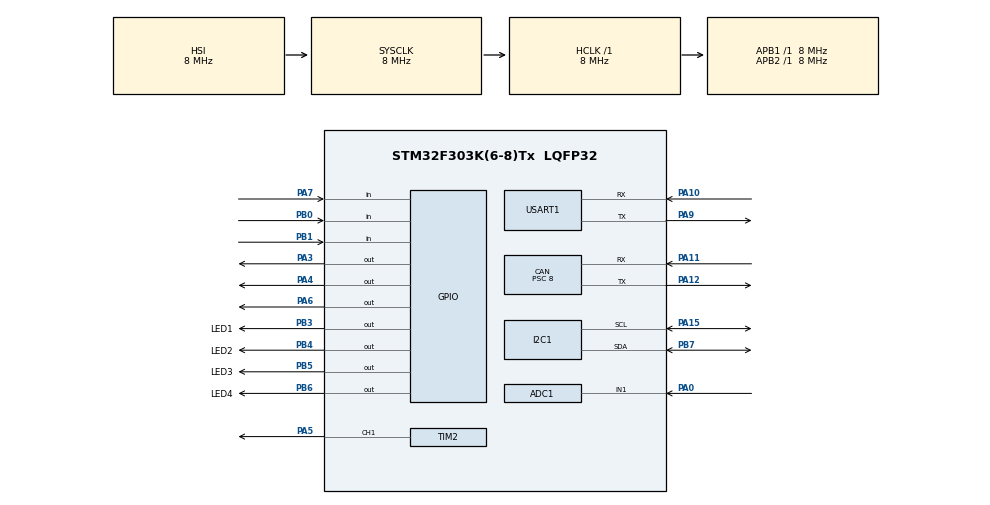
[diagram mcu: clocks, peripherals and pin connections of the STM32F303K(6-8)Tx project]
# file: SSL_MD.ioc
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ADC1.Channel-24\#ChannelRegularConversion=ADC_CHANNEL_1
ADC1.NbrOfConversionFlag=1
ADC1.Offset-24\#ChannelRegularConversion=0
ADC1.OffsetNumber-24\#ChannelRegularConversion=ADC_OFFSET_NONE
ADC1.Rank-24\#ChannelRegularConversion=1
ADC1.SamplingTime-24\#ChannelRegularConversion=ADC_SAMPLETIME_1CYCLE_5
ADC1.SubFamily=STM32F303x8
ADC1.master=1
CAN.BS1=CAN_BS1_2TQ
CAN.CalculateTimeQuantum=1000.0
CAN.Prescaler=8
Mcu.Family=STM32F3
Mcu.Name=STM32F303K(6-8)Tx
Mcu.Package=LQFP32
NVIC.PriorityGroup=NVIC_PRIORITYGROUP_4
PA0.Mode=IN1-Single-Ended
PA0.Signal=ADC1_IN1
PA10.Mode=Asynchronous
PA10.Signal=USART1_RX
PA11.Mode=Master
PA11.Signal=CAN_RX
PA12.Mode=Master
PA12.Signal=CAN_TX
PA13.Mode=Serial_Wire
PA13.Signal=SYS_JTMS-SWDIO
PA14.Mode=Serial_Wire
PA14.Signal=SYS_JTCK-SWCLK
PA15.Mode=I2C
PA15.Signal=I2C1_SCL
PA3.Signal=GPIO_Output
PA4.Signal=GPIO_Output
PA5.Signal=S_TIM2_CH1_ETR
PA6.Signal=GPIO_Output
PA7.Signal=GPIO_Input
PA9.Mode=Asynchronous
PA9.Signal=USART1_TX
PB0.Signal=GPIO_Input
PB1.Signal=GPIO_Input
PB3.GPIO_Label=LED1
PB3.Signal=GPIO_Output
PB4.GPIO_Label=LED2
PB4.Signal=GPIO_Output
PB5.GPIO_Label=LED3
PB5.Signal=GPIO_Output
PB6.GPIO_Label=LED4
PB6.Signal=GPIO_Output
PB7.Mode=I2C
PB7.Signal=I2C1_SDA
ProjectManager.HeapSize=0x200
ProjectManager.StackSize=0x400
ProjectManager.TargetToolchain=TrueSTUDIO
RCC.AHBFreq_Value=8000000
RCC.APB1Freq_Value=8000000
RCC.APB2Freq_Value=8000000
RCC.CortexFreq_Value=8000000
RCC.HSE_VALUE=8000000
RCC.HSI_VALUE=8000000
RCC.PLLMUL=RCC_PLL_MUL9
RCC.SYSCLKFreq_VALUE=8000000
SH.S_TIM2_CH1_ETR.0=TIM2_CH1,PWM Generation1 CH1
TIM2.Channel-PWM\ Generation1\ CH1=TIM_CHANNEL_1
TIM2.Period=99
TIM2.Prescaler=7
USART1.VirtualMode-Asynchronous=VM_ASYNC
VP_TIM2_VS_ClockSourceINT.Mode=Internal
board=custom

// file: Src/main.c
/**
  ******************************************************************************
  * @file           : main.c
  * @brief          : Main program body
  ******************************************************************************
  ** This notice applies to any and all portions of this file
  * that are not between comment pairs USER CODE BEGIN and
  * USER CODE END. Other portions of this file, whether
  * inserted by the user or by software development tools
  * are owned by their respective copyright owners.
  *
  * COPYRIGHT(c) 2018 STMicroelectronics
  *
  * Redistribution and use in source and binary forms, with or without modification,
  * are permitted provided that the following conditions are met:
  *   1. Redistributions of source code must retain the above copyright notice,
  *      this list of conditions and the following disclaimer.
  *   2. Redistributions in binary form must reproduce the above copyright notice,
  *      this list of conditions and the following disclaimer in the documentation
  *      and/or other materials provided with the distribution.
  *   3. Neither the name of STMicroelectronics nor the names of its contributors
  *      may be used to endorse or promote products derived from this software
  *      without specific prior written permission.
  *
  * THIS SOFTWARE IS PROVIDED BY THE COPYRIGHT HOLDERS AND CONTRIBUTORS "AS IS"
  * AND ANY EXPRESS OR IMPLIED WARRANTIES, INCLUDING, BUT NOT LIMITED TO, THE
  * IMPLIED WARRANTIES OF MERCHANTABILITY AND FITNESS FOR A PARTICULAR PURPOSE ARE
  * DISCLAIMED. IN NO EVENT SHALL THE COPYRIGHT HOLDER OR CONTRIBUTORS BE LIABLE
  * FOR ANY DIRECT, INDIRECT, INCIDENTAL, SPECIAL, EXEMPLARY, OR CONSEQUENTIAL
  * DAMAGES (INCLUDING, BUT NOT LIMITED TO, PROCUREMENT OF SUBSTITUTE GOODS OR
  * SERVICES; LOSS OF USE, DATA, OR PROFITS; OR BUSINESS INTERRUPTION) HOWEVER
  * CAUSED AND ON ANY THEORY OF LIABILITY, WHETHER IN CONTRACT, STRICT LIABILITY,
  * OR TORT (INCLUDING NEGLIGENCE OR OTHERWISE) ARISING IN ANY WAY OUT OF THE USE
  * OF THIS SOFTWARE, EVEN IF ADVISED OF THE POSSIBILITY OF SUCH DAMAGE.
  *
  ******************************************************************************
  */
#include "main.h"
#include "stm32f3xx_hal.h"
#include "adc.h"
#include "can.h"
#include "i2c.h"
#include "tim.h"
#include "usart.h"
#include "gpio.h"

/* USER CODE BEGIN PV */
/* Private variables ---------------------------------------------------------*/

/* USER CODE END PV */

void SystemClock_Config(void);

/* USER CODE BEGIN PFP */
/* Private function prototypes -----------------------------------------------*/
HAL_StatusTypeDef CAN_Read(void);
/* USER CODE END PFP */

int main(void)
{

  /* MCU Configuration----------------------------------------------------------*/

  /* Reset of all peripherals, Initializes the Flash interface and the Systick. */
  HAL_Init();

  /* Configure the system clock */
  SystemClock_Config();

  /* Initialize all configured peripherals */
  MX_GPIO_Init();
  MX_ADC1_Init();
  MX_CAN_Init();
  MX_I2C1_Init();
  MX_TIM2_Init();
  MX_USART1_UART_Init();
  /* USER CODE BEGIN 2 */
  if (HAL_TIM_PWM_Start(&htim2, TIM_CHANNEL_1) != HAL_OK) {
	  Error_Handler();
  }
  if (HAL_CAN_Start(&CanHandle) != HAL_OK)
  {
	  // Start Error
	  Error_Handler();
  }
  uint8_t data1=0,data2=0;
  /* USER CODE END 2 */

  /* Infinite loop */
  /* USER CODE BEGIN WHILE */
  while (1)
  {
	  /*if(CAN_Read()==HAL_OK){
		  //HAL_GPIO_TogglePin(GPIOD,GPIO_PIN_15);
	  }*/
	  __HAL_TIM_SET_COMPARE(&htim2,TIM_CHANNEL_1,data1);
	  HAL_GPIO_WritePin(GPIOA, GPIO_PIN_4, 1);

  /* USER CODE END WHILE */

  }

}

void SystemClock_Config(void)
{

  RCC_OscInitTypeDef RCC_OscInitStruct;
  RCC_ClkInitTypeDef RCC_ClkInitStruct;
  RCC_PeriphCLKInitTypeDef PeriphClkInit;

    /**Initializes the CPU, AHB and APB busses clocks
    */
  RCC_OscInitStruct.OscillatorType = RCC_OSCILLATORTYPE_HSI;
  RCC_OscInitStruct.HSIState = RCC_HSI_ON;
  RCC_OscInitStruct.HSICalibrationValue = 16;
  RCC_OscInitStruct.PLL.PLLState = RCC_PLL_ON;
  RCC_OscInitStruct.PLL.PLLSource = RCC_PLLSOURCE_HSI;
  RCC_OscInitStruct.PLL.PLLMUL = RCC_PLL_MUL9;
  if (HAL_RCC_OscConfig(&RCC_OscInitStruct) != HAL_OK)
  {
    _Error_Handler(__FILE__, __LINE__);
  }

    /**Initializes the CPU, AHB and APB busses clocks
    */
  RCC_ClkInitStruct.ClockType = RCC_CLOCKTYPE_HCLK|RCC_CLOCKTYPE_SYSCLK
                              |RCC_CLOCKTYPE_PCLK1|RCC_CLOCKTYPE_PCLK2;
  RCC_ClkInitStruct.SYSCLKSource = RCC_SYSCLKSOURCE_HSI;
  RCC_ClkInitStruct.AHBCLKDivider = RCC_SYSCLK_DIV1;
  RCC_ClkInitStruct.APB1CLKDivider = RCC_HCLK_DIV1;
  RCC_ClkInitStruct.APB2CLKDivider = RCC_HCLK_DIV1;

  if (HAL_RCC_ClockConfig(&RCC_ClkInitStruct, FLASH_LATENCY_0) != HAL_OK)
  {
    _Error_Handler(__FILE__, __LINE__);
  }

  PeriphClkInit.PeriphClockSelection = RCC_PERIPHCLK_USART1|RCC_PERIPHCLK_I2C1
                              |RCC_PERIPHCLK_ADC12;
  PeriphClkInit.Usart1ClockSelection = RCC_USART1CLKSOURCE_PCLK1;
  PeriphClkInit.Adc12ClockSelection = RCC_ADC12PLLCLK_DIV1;
  PeriphClkInit.I2c1ClockSelection = RCC_I2C1CLKSOURCE_HSI;
  if (HAL_RCCEx_PeriphCLKConfig(&PeriphClkInit) != HAL_OK)
  {
    _Error_Handler(__FILE__, __LINE__);
  }

    /**Configure the Systick interrupt time
    */
  HAL_SYSTICK_Config(HAL_RCC_GetHCLKFreq()/1000);

    /**Configure the Systick
    */
  HAL_SYSTICK_CLKSourceConfig(SYSTICK_CLKSOURCE_HCLK);

  /* SysTick_IRQn interrupt configuration */
  HAL_NVIC_SetPriority(SysTick_IRQn, 0, 0);
}

/* USER CODE BEGIN 4 */
HAL_StatusTypeDef CAN_Read(void){
	/*##-5- Start the Reception process ########################################*/
	//if(HAL_CAN_GetRxFifoFillLevel(&CanHandle, CAN_RX_FIFO0) != 1)
	//{
		//HAL_GPIO_WritePin(GPIOD,GPIO_PIN_13,1);
	    /* Reception Missing */
	    //Error_Handler();
	//}
	if(HAL_CAN_GetRxMessage(&CanHandle, CAN_RX_FIFO0, &RxHeader, RxData) != HAL_OK)
	{
		//HAL_GPIO_WritePin(GPIOD,GPIO_PIN_14,1);
	    /* Reception Error */
	    //Error_Handler();
	}

	if((RxHeader.StdId != 0x11)                     ||
	   (RxHeader.RTR != CAN_RTR_DATA)               ||
	   (RxHeader.IDE != CAN_ID_STD)                 ||
	   (RxHeader.DLC != 8)    )
	{
	    /* Rx message Error */
	    return HAL_ERROR;
	 }

	  return HAL_OK; /* Test Passed */
}
/* USER CODE END 4 */

void _Error_Handler(char *file, int line)
{
  /* USER CODE BEGIN Error_Handler_Debug */
  /* User can add his own implementation to report the HAL error return state */
  while(1)
  {
	  HAL_GPIO_TogglePin(GPIOA,GPIO_PIN_3);
	  HAL_Delay(500);
  }
  /* USER CODE END Error_Handler_Debug */
}

/************************ (C) COPYRIGHT STMicroelectronics *****END OF FILE****/
